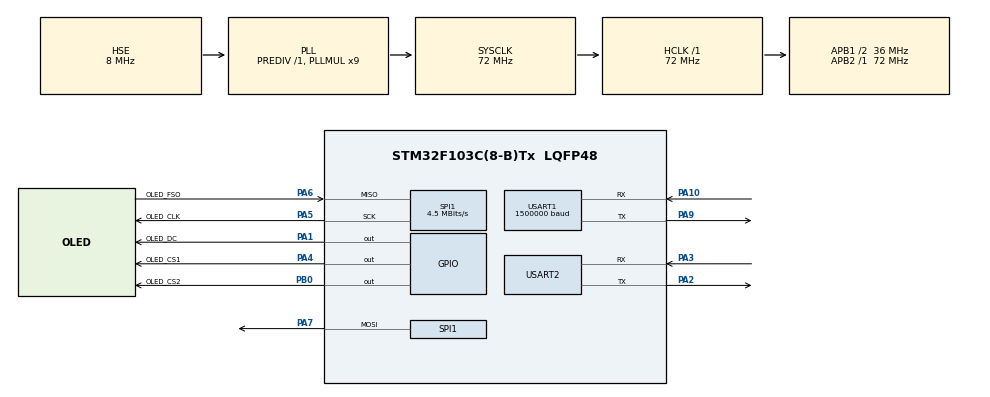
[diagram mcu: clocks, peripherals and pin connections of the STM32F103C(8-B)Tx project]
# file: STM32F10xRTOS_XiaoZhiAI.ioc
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Dma.Request0=USART2_RX
Dma.USART2_RX.0.Direction=DMA_PERIPH_TO_MEMORY
Dma.USART2_RX.0.Instance=DMA1_Channel6
Dma.USART2_RX.0.MemDataAlignment=DMA_MDATAALIGN_BYTE
Dma.USART2_RX.0.MemInc=DMA_MINC_ENABLE
Dma.USART2_RX.0.Mode=DMA_NORMAL
Dma.USART2_RX.0.PeriphDataAlignment=DMA_PDATAALIGN_BYTE
Dma.USART2_RX.0.PeriphInc=DMA_PINC_DISABLE
Dma.USART2_RX.0.Priority=DMA_PRIORITY_LOW
FREERTOS.Tasks01=defaultTask,24,256,StartDefaultTask,Default,NULL,Dynamic,NULL,NULL
FREERTOS.configMINIMAL_STACK_SIZE=128
Mcu.Family=STM32F1
Mcu.Name=STM32F103C(8-B)Tx
Mcu.Package=LQFP48
NVIC.DMA1_Channel6_IRQn=true\:5\:0\:false\:false\:true\:true\:false\:true\:true
NVIC.PriorityGroup=NVIC_PRIORITYGROUP_4
NVIC.TIM1_UP_IRQn=true\:15\:0\:false\:false\:true\:false\:false\:true\:true
NVIC.TimeBase=TIM1_UP_IRQn
NVIC.TimeBaseIP=TIM1
NVIC.USART2_IRQn=true\:5\:0\:false\:false\:true\:true\:true\:true\:true
PA1.GPIO_Label=OLED_DC
PA1.Signal=GPIO_Output
PA10.Mode=Asynchronous
PA10.Signal=USART1_RX
PA13.Mode=Serial_Wire
PA13.Signal=SYS_JTMS-SWDIO
PA14.Mode=Serial_Wire
PA14.Signal=SYS_JTCK-SWCLK
PA2.Mode=Asynchronous
PA2.Signal=USART2_TX
PA3.Mode=Asynchronous
PA3.Signal=USART2_RX
PA4.GPIO_Label=OLED_CS1
PA4.GPIO_Speed=GPIO_SPEED_FREQ_HIGH
PA4.PinState=GPIO_PIN_SET
PA4.Signal=GPIO_Output
PA5.GPIO_Label=OLED_CLK
PA5.Mode=Full_Duplex_Master
PA5.Signal=SPI1_SCK
PA6.GPIO_Label=OLED_FSO
PA6.Mode=Full_Duplex_Master
PA6.Signal=SPI1_MISO
PA7.Mode=Full_Duplex_Master
PA7.Signal=SPI1_MOSI
PA9.Mode=Asynchronous
PA9.Signal=USART1_TX
PB0.GPIO_Label=OLED_CS2
PB0.Signal=GPIO_Output
PD0-OSC_IN.Mode=HSE-External-Oscillator
PD0-OSC_IN.Signal=RCC_OSC_IN
PD1-OSC_OUT.Mode=HSE-External-Oscillator
PD1-OSC_OUT.Signal=RCC_OSC_OUT
ProjectManager.HeapSize=0x200
ProjectManager.StackSize=0x400
ProjectManager.TargetToolchain=CMake
RCC.AHBFreq_Value=72000000
RCC.APB1CLKDivider=RCC_HCLK_DIV2
RCC.APB1Freq_Value=36000000
RCC.APB1TimFreq_Value=72000000
RCC.APB2Freq_Value=72000000
RCC.APB2TimFreq_Value=72000000
RCC.HCLKFreq_Value=72000000
RCC.PLLMUL=RCC_PLL_MUL9
RCC.PLLSourceVirtual=RCC_PLLSOURCE_HSE
RCC.SYSCLKFreq_VALUE=72000000
RCC.SYSCLKSource=RCC_SYSCLKSOURCE_PLLCLK
RCC.USBFreq_Value=72000000
SPI1.BaudRatePrescaler=SPI_BAUDRATEPRESCALER_16
SPI1.CalculateBaudRate=4.5 MBits/s
SPI1.Direction=SPI_DIRECTION_2LINES
SPI1.Mode=SPI_MODE_MASTER
SPI1.VirtualType=VM_MASTER
USART1.BaudRate=1500000
USART1.VirtualMode=VM_ASYNC
USART2.VirtualMode=VM_ASYNC
VP_FREERTOS_VS_CMSIS_V2.Mode=CMSIS_V2
VP_SYS_VS_tim1.Mode=TIM1
board=custom

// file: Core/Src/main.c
/* USER CODE BEGIN Header */
/**
 ******************************************************************************
 * @file           : main.c
 * @brief          : Main program body
 ******************************************************************************
 * @attention
 *
 * Copyright (c) 2025 STMicroelectronics.
 * All rights reserved.
 *
 * This software is licensed under terms that can be found in the LICENSE file
 * in the root directory of this software component.
 * If no LICENSE file comes with this software, it is provided AS-IS.
 *
 ******************************************************************************
 */
/* USER CODE END Header */
#include "main.h"
#include "cmsis_os.h"
#include "dma.h"
#include "gpio.h"
#include "log.h"
#include "spi.h"
#include "usart.h"

/* USER CODE BEGIN PD */
#define RXBUFFSER_MAX_SIZE 256
/* USER CODE END PD */

void SystemClock_Config(void);
void MX_FREERTOS_Init(void);

/* USER CODE BEGIN 0 */
uint8_t rxBuffer[RXBUFFSER_MAX_SIZE] = {0};
emMCP_t emMCP;
void HAL_UARTEx_RxEventCallback(UART_HandleTypeDef *huart, uint16_t Size) {
  if (huart == &huart2) {
    uartPortRecvData((char *)rxBuffer, Size);
    log_info("%s", rxBuffer);
    HAL_UARTEx_ReceiveToIdle_DMA(&huart2, rxBuffer, RXBUFFSER_MAX_SIZE);
    __HAL_DMA_DISABLE_IT(huart2.hdmarx, DMA_IT_HT);
  }
}
/**
 * @brief MCP??????????
 *
 * @param event
 * @param type
 * @param param
 */
// void emMCP_EventCallback(emMCP_event_t event, mcp_server_tool_type_t
// type,void *param)
// {
//   char *param_str = (char *)param;
//   emMCP_log_debug("emMCP_EventCallback: event:%d,type:%d,param:%s", event,
//   type, param_str); switch (event) { case emMCP_EVENT_AI_MCP_Text: {
//     cJSON *root = cJSON_Parse(param_str);
//     cJSON *state = cJSON_GetObjectItem(root, "state");
//     if (state->valueint == true) {
//       cJSON *text = cJSON_GetObjectItem(root, "text");
//       if (text != NULL) {

//          OLED_Display_UTF8(0, 6, text->valuestring);

//         }

//     }else {
//       OLED_Display_GB2312_string(0,4,"");
//     }
//     cJSON_Delete(root);
//     }
//     break;
//   default:
//     break;
//   }
// }
/* USER CODE END 0 */

int main(void) {

  /* MCU Configuration--------------------------------------------------------*/

  /* Reset of all peripherals, Initializes the Flash interface and the Systick.
   */
  HAL_Init();

  /* Configure the system clock */
  SystemClock_Config();

  /* Initialize all configured peripherals */
  MX_GPIO_Init();
  MX_DMA_Init();
  MX_USART1_UART_Init();
  MX_USART2_UART_Init();
  MX_SPI1_Init();
  /* USER CODE BEGIN 2 */
  OLED_Init();
  OLED_ColorTurn(0);
  OLED_DisplayTurn(0);
  OLED_Clear();
  HAL_UARTEx_ReceiveToIdle_DMA(&huart2, rxBuffer, RXBUFFSER_MAX_SIZE);
  __HAL_DMA_DISABLE_IT(huart2.hdmarx, DMA_IT_HT);

  emMCP_Init(&emMCP);
  // OLED_Display_GB2312_string(8,3,"Hello World");
  // OLED_Display_8x16(0,0,"Hello World");
  OLED_Display_UTF8(0, 3, "欢迎使用小安AI");
  OLED_WR_Byte(0X2E, OLED_CMD);
  OLED_WR_Byte(0X2A, OLED_CMD);
  OLED_WR_Byte(0X00, OLED_CMD);
  OLED_WR_Byte(0X00, OLED_CMD);
  OLED_WR_Byte(0X07, OLED_CMD);
  OLED_WR_Byte(0X07, OLED_CMD);
  OLED_WR_Byte(0X00, OLED_CMD);
  OLED_WR_Byte(0X2F, OLED_CMD);
  /* USER CODE END 2 */

  /* Init scheduler */
  osKernelInitialize(); /* Call init function for freertos objects (in
                           cmsis_os2.c) */
  MX_FREERTOS_Init();

  /* Start scheduler */
  osKernelStart();

  /* We should never get here as control is now taken by the scheduler */

  /* Infinite loop */
  while (1) {

  }
}

void SystemClock_Config(void) {
  RCC_OscInitTypeDef RCC_OscInitStruct = {0};
  RCC_ClkInitTypeDef RCC_ClkInitStruct = {0};

  /** Initializes the RCC Oscillators according to the specified parameters
   * in the RCC_OscInitTypeDef structure.
   */
  RCC_OscInitStruct.OscillatorType = RCC_OSCILLATORTYPE_HSE;
  RCC_OscInitStruct.HSEState = RCC_HSE_ON;
  RCC_OscInitStruct.HSEPredivValue = RCC_HSE_PREDIV_DIV1;
  RCC_OscInitStruct.HSIState = RCC_HSI_ON;
  RCC_OscInitStruct.PLL.PLLState = RCC_PLL_ON;
  RCC_OscInitStruct.PLL.PLLSource = RCC_PLLSOURCE_HSE;
  RCC_OscInitStruct.PLL.PLLMUL = RCC_PLL_MUL9;
  if (HAL_RCC_OscConfig(&RCC_OscInitStruct) != HAL_OK) {
    Error_Handler();
  }

  /** Initializes the CPU, AHB and APB buses clocks
   */
  RCC_ClkInitStruct.ClockType = RCC_CLOCKTYPE_HCLK | RCC_CLOCKTYPE_SYSCLK |
                                RCC_CLOCKTYPE_PCLK1 | RCC_CLOCKTYPE_PCLK2;
  RCC_ClkInitStruct.SYSCLKSource = RCC_SYSCLKSOURCE_PLLCLK;
  RCC_ClkInitStruct.AHBCLKDivider = RCC_SYSCLK_DIV1;
  RCC_ClkInitStruct.APB1CLKDivider = RCC_HCLK_DIV2;
  RCC_ClkInitStruct.APB2CLKDivider = RCC_HCLK_DIV1;

  if (HAL_RCC_ClockConfig(&RCC_ClkInitStruct, FLASH_LATENCY_2) != HAL_OK) {
    Error_Handler();
  }
}

void HAL_TIM_PeriodElapsedCallback(TIM_HandleTypeDef *htim) {
  if (htim->Instance == TIM1) {
    HAL_IncTick();
  }
}

void Error_Handler(void) {
  __disable_irq();
  while (1) {
  }
}
#ifdef USE_FULL_ASSERT
/**
 * @brief  Reports the name of the source file and the source line number
 *         where the assert_param error has occurred.
 * @param  file: pointer to the source file name
 * @param  line: assert_param error line source number
 * @retval None
 */
void assert_failed(uint8_t *file, uint32_t line) {
  /* USER CODE BEGIN 6 */
  /* User can add his own implementation to report the file name and line
     number, ex: printf("Wrong parameters value: file %s on line %d\r\n", file,
     line) */
  /* USER CODE END 6 */
}
#endif /* USE_FULL_ASSERT */

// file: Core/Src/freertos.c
/* USER CODE BEGIN Header */
/**
 ******************************************************************************
 * File Name          : freertos.c
 * Description        : Code for freertos applications
 ******************************************************************************
 * @attention
 *
 * Copyright (c) 2025 STMicroelectronics.
 * All rights reserved.
 *
 * This software is licensed under terms that can be found in the LICENSE file
 * in the root directory of this software component.
 * If no LICENSE file comes with this software, it is provided AS-IS.
 *
 ******************************************************************************
 */
/* USER CODE END Header */

#include "FreeRTOS.h"
#include "task.h"
#include "main.h"
#include "cmsis_os.h"

/* Definitions for defaultTask */
osThreadId_t defaultTaskHandle;
const osThreadAttr_t defaultTask_attributes = {
  .name = "defaultTask",
  .stack_size = 256 * 4,
  .priority = (osPriority_t) osPriorityNormal,
};

/* USER CODE BEGIN FunctionPrototypes */
osThreadId_t oled_Scroll_task;
const osThreadAttr_t oled_Scroll_task_attributes = {
    .name = "oled_Scroll_task",
    .stack_size = 256 * 4,
    .priority = (osPriority_t)osPriorityNormal,
};

osThreadId_t oled_TickHandle_task;
const osThreadAttr_t oled_TickHandle_task_attributes = {
    .name = "oled_TickHandle_task",
    .stack_size = 256 * 4,
    .priority = (osPriority_t)osPriorityNormal,
};
void oled_Scroll_taskHandler(void *argument);
void oled_TickHandle_taskHandle(void *argument);
/* USER CODE END FunctionPrototypes */

void StartDefaultTask(void *argument);

void MX_FREERTOS_Init(void); /* (MISRA C 2004 rule 8.1) */

void MX_FREERTOS_Init(void) {

  /* Create the thread(s) */
  /* creation of defaultTask */
  defaultTaskHandle = osThreadNew(StartDefaultTask, NULL, &defaultTask_attributes);

  /* USER CODE BEGIN RTOS_THREADS */
  /* add threads, ... */
  // oled_Scroll_task=osThreadNew(oled_Scroll_taskHandler, NULL,&oled_Scroll_task_attributes);
  oled_TickHandle_task=osThreadNew(oled_TickHandle_taskHandle,NULL, &oled_TickHandle_task_attributes);
  /* USER CODE END RTOS_THREADS */

}

void StartDefaultTask(void *argument)
{
  /* USER CODE BEGIN StartDefaultTask */
  /* Infinite loop */

  for (;;) {
     emMCP_TickHandle(10);
  }
  /* USER CODE END StartDefaultTask */
}

/* USER CODE BEGIN Application */
void oled_TickHandle_taskHandle(void *argument)
{
  /* USER CODE BEGIN StartDefaultTask */
  /* Infinite loop */

  for (;;) {

    osDelay(pdMS_TO_TICKS(10));
    }
  /* USER CODE END StartDefaultTask */
}

void oled_Scroll_taskHandler(void *argument)
{
  /* USER CODE BEGIN StartDefaultTask */
  /* Infinite loop */

  for (;;) {

     osDelay(pdMS_TO_TICKS(5));
  }
  /* USER CODE END StartDefaultTask */
}
/* USER CODE END Application */
